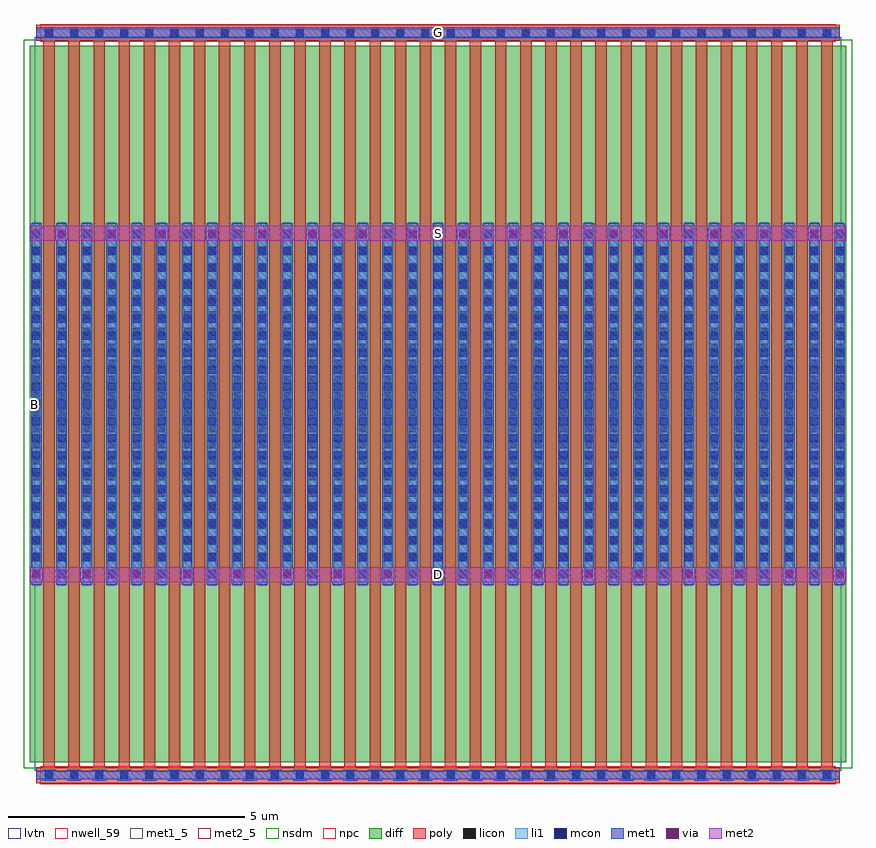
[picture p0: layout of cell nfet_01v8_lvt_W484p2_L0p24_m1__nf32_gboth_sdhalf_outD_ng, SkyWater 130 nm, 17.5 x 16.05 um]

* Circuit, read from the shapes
.subckt nfet_01v8_lvt_W484p2_L0p24_m1__nf32_gboth_sdhalf_outD_ng B D G S
XM1 S G D B sky130_fd_pr__nfet_01v8_lvt w=15.13 l=0.24 m=32
.ends

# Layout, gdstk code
import gdstk
lib = gdstk.Library(unit=1e-6, precision=1e-09)
def R(c, l, rs):  # rectangles x0, y0, x1, y1
    for r in rs: c.add(gdstk.rectangle(r[:2], r[2:], *l))
def A(c, l, x, y, w, h, nx, ny, dx, dy):  # array of equal rectangles
    R(c, l, [(x+i*dx, y+j*dy, x+i*dx+w, y+j*dy+h) for i in range(nx) for j in range(ny)])
nwell_59 = (64, 59)
diff = (65, 20)
poly = (66, 20)
licon = (66, 44)
li1 = (67, 20)
mcon = (67, 44)
met1_5 = (68, 5)
met1 = (68, 20)
via = (68, 44)
met2_5 = (69, 5)
met2 = (69, 20)
nsdm = (93, 44)
npc = (95, 20)
lvtn = (125, 44)

sky130_fd_pr__nfet_01v8_ = lib.new_cell('sky130_fd_pr__nfet_01v8_lvt_Z26UJJ')
R(sky130_fd_pr__nfet_01v8_, diff, [(-8.625,-7.565,8.625,7.565)])
A(sky130_fd_pr__nfet_01v8_, poly, -8.335, -7.675, 0.24, 15.35, 32, 1, 0.53, 0)
R(sky130_fd_pr__nfet_01v8_, poly, [(-8.48,-8.005,8.48,-7.675), (-8.48,7.675,8.48,8.005)])
A(sky130_fd_pr__nfet_01v8_, licon, -8.3, -7.925, 0.17, 0.17, 32, 2, 0.53, 15.68)
A(sky130_fd_pr__nfet_01v8_, licon, -8.565, -3.655, 0.17, 0.17, 33, 22, 0.53, 0.34)
A(sky130_fd_pr__nfet_01v8_, li1, -8.565, -3.835, 0.17, 7.67, 33, 1, 0.53, 0)
R(sky130_fd_pr__nfet_01v8_, li1, [(-8.48,-7.925,8.48,-7.755), (-8.48,7.755,8.48,7.925)])
A(sky130_fd_pr__nfet_01v8_, mcon, -8.3, -7.925, 0.17, 0.17, 32, 2, 0.53, 15.68)
A(sky130_fd_pr__nfet_01v8_, mcon, -8.565, -3.685, 0.17, 0.17, 33, 21, 0.53, 0.36)
A(sky130_fd_pr__nfet_01v8_, met1, -8.36, -7.955, 0.29, 0.03, 32, 2, 0.53, 0.2)
A(sky130_fd_pr__nfet_01v8_, met1, -8.595, -3.815, 0.23, 7.63, 33, 1, 0.53, 0)
A(sky130_fd_pr__nfet_01v8_, met1, -8.36, 7.725, 0.29, 0.03, 32, 2, 0.53, 0.2)
R(sky130_fd_pr__nfet_01v8_, met1, [(-8.48,-7.925,8.48,-7.755), (-8.48,7.755,8.48,7.925)])
R(sky130_fd_pr__nfet_01v8_, nsdm, [(-8.75,-7.69,8.75,7.69)])
R(sky130_fd_pr__nfet_01v8_, npc, [(-8.4,-8.025,8.4,-7.655), (-8.4,7.655,8.4,8.025)])
R(sky130_fd_pr__nfet_01v8_, lvtn, [(-8.515,-7.745,8.515,7.745)])
sky130_fd_pr__nfet_01v8_.add(gdstk.Label('D0', (-8.48,0), layer=67, texttype=5))
sky130_fd_pr__nfet_01v8_.add(gdstk.Label('G', (8.215,7.84), layer=67, texttype=5))
sky130_fd_pr__nfet_01v8_.add(gdstk.Label('G', (7.685,7.84), layer=67, texttype=5))
sky130_fd_pr__nfet_01v8_.add(gdstk.Label('G', (7.155,7.84), layer=67, texttype=5))
sky130_fd_pr__nfet_01v8_.add(gdstk.Label('G', (6.625,7.84), layer=67, texttype=5))
sky130_fd_pr__nfet_01v8_.add(gdstk.Label('G', (6.095,7.84), layer=67, texttype=5))
sky130_fd_pr__nfet_01v8_.add(gdstk.Label('G', (5.565,7.84), layer=67, texttype=5))
sky130_fd_pr__nfet_01v8_.add(gdstk.Label('G', (5.035,7.84), layer=67, texttype=5))
sky130_fd_pr__nfet_01v8_.add(gdstk.Label('G', (4.505,7.84), layer=67, texttype=5))
sky130_fd_pr__nfet_01v8_.add(gdstk.Label('G', (3.975,7.84), layer=67, texttype=5))
sky130_fd_pr__nfet_01v8_.add(gdstk.Label('G', (3.445,7.84), layer=67, texttype=5))
sky130_fd_pr__nfet_01v8_.add(gdstk.Label('G', (2.915,7.84), layer=67, texttype=5))
sky130_fd_pr__nfet_01v8_.add(gdstk.Label('G', (2.385,7.84), layer=67, texttype=5))
sky130_fd_pr__nfet_01v8_.add(gdstk.Label('G', (1.855,7.84), layer=67, texttype=5))
sky130_fd_pr__nfet_01v8_.add(gdstk.Label('G', (1.325,7.84), layer=67, texttype=5))
sky130_fd_pr__nfet_01v8_.add(gdstk.Label('G', (0.795,7.84), layer=67, texttype=5))
sky130_fd_pr__nfet_01v8_.add(gdstk.Label('G', (0.265,7.84), layer=67, texttype=5))
sky130_fd_pr__nfet_01v8_.add(gdstk.Label('G', (-0.265,7.84), layer=67, texttype=5))
sky130_fd_pr__nfet_01v8_.add(gdstk.Label('G', (-0.795,7.84), layer=67, texttype=5))
sky130_fd_pr__nfet_01v8_.add(gdstk.Label('G', (-1.325,7.84), layer=67, texttype=5))
sky130_fd_pr__nfet_01v8_.add(gdstk.Label('G', (-1.855,7.84), layer=67, texttype=5))
sky130_fd_pr__nfet_01v8_.add(gdstk.Label('G', (-2.385,7.84), layer=67, texttype=5))
sky130_fd_pr__nfet_01v8_.add(gdstk.Label('G', (-2.915,7.84), layer=67, texttype=5))
sky130_fd_pr__nfet_01v8_.add(gdstk.Label('G', (-3.445,7.84), layer=67, texttype=5))
sky130_fd_pr__nfet_01v8_.add(gdstk.Label('G', (-3.975,7.84), layer=67, texttype=5))
sky130_fd_pr__nfet_01v8_.add(gdstk.Label('G', (-4.505,7.84), layer=67, texttype=5))
sky130_fd_pr__nfet_01v8_.add(gdstk.Label('G', (-5.035,7.84), layer=67, texttype=5))
sky130_fd_pr__nfet_01v8_.add(gdstk.Label('G', (-5.565,7.84), layer=67, texttype=5))
sky130_fd_pr__nfet_01v8_.add(gdstk.Label('G', (-6.095,7.84), layer=67, texttype=5))
sky130_fd_pr__nfet_01v8_.add(gdstk.Label('G', (-6.625,7.84), layer=67, texttype=5))
sky130_fd_pr__nfet_01v8_.add(gdstk.Label('G', (-7.155,7.84), layer=67, texttype=5))
sky130_fd_pr__nfet_01v8_.add(gdstk.Label('G', (-7.685,7.84), layer=67, texttype=5))
sky130_fd_pr__nfet_01v8_.add(gdstk.Label('G', (-8.215,7.84), layer=67, texttype=5))
sky130_fd_pr__nfet_01v8_.add(gdstk.Label('S1', (-7.95,0), layer=67, texttype=5))
sky130_fd_pr__nfet_01v8_.add(gdstk.Label('D2', (-7.42,0), layer=67, texttype=5))
sky130_fd_pr__nfet_01v8_.add(gdstk.Label('S3', (-6.89,0), layer=67, texttype=5))
sky130_fd_pr__nfet_01v8_.add(gdstk.Label('D4', (-6.36,0), layer=67, texttype=5))
sky130_fd_pr__nfet_01v8_.add(gdstk.Label('S5', (-5.83,0), layer=67, texttype=5))
sky130_fd_pr__nfet_01v8_.add(gdstk.Label('D6', (-5.3,0), layer=67, texttype=5))
sky130_fd_pr__nfet_01v8_.add(gdstk.Label('S7', (-4.77,0), layer=67, texttype=5))
sky130_fd_pr__nfet_01v8_.add(gdstk.Label('D8', (-4.24,0), layer=67, texttype=5))
sky130_fd_pr__nfet_01v8_.add(gdstk.Label('S9', (-3.71,0), layer=67, texttype=5))
sky130_fd_pr__nfet_01v8_.add(gdstk.Label('D10', (-3.18,0), layer=67, texttype=5))
sky130_fd_pr__nfet_01v8_.add(gdstk.Label('S11', (-2.65,0), layer=67, texttype=5))
sky130_fd_pr__nfet_01v8_.add(gdstk.Label('D12', (-2.12,0), layer=67, texttype=5))
sky130_fd_pr__nfet_01v8_.add(gdstk.Label('S13', (-1.59,0), layer=67, texttype=5))
sky130_fd_pr__nfet_01v8_.add(gdstk.Label('D14', (-1.06,0), layer=67, texttype=5))
sky130_fd_pr__nfet_01v8_.add(gdstk.Label('S15', (-0.53,0), layer=67, texttype=5))
sky130_fd_pr__nfet_01v8_.add(gdstk.Label('D16', (0,0), layer=67, texttype=5))
sky130_fd_pr__nfet_01v8_.add(gdstk.Label('S17', (0.53,0), layer=67, texttype=5))
sky130_fd_pr__nfet_01v8_.add(gdstk.Label('D18', (1.06,0), layer=67, texttype=5))
sky130_fd_pr__nfet_01v8_.add(gdstk.Label('S19', (1.59,0), layer=67, texttype=5))
sky130_fd_pr__nfet_01v8_.add(gdstk.Label('D20', (2.12,0), layer=67, texttype=5))
sky130_fd_pr__nfet_01v8_.add(gdstk.Label('S21', (2.65,0), layer=67, texttype=5))
sky130_fd_pr__nfet_01v8_.add(gdstk.Label('D22', (3.18,0), layer=67, texttype=5))
sky130_fd_pr__nfet_01v8_.add(gdstk.Label('S23', (3.71,0), layer=67, texttype=5))
sky130_fd_pr__nfet_01v8_.add(gdstk.Label('D24', (4.24,0), layer=67, texttype=5))
sky130_fd_pr__nfet_01v8_.add(gdstk.Label('S25', (4.77,0), layer=67, texttype=5))
sky130_fd_pr__nfet_01v8_.add(gdstk.Label('D26', (5.3,0), layer=67, texttype=5))
sky130_fd_pr__nfet_01v8_.add(gdstk.Label('S27', (5.83,0), layer=67, texttype=5))
sky130_fd_pr__nfet_01v8_.add(gdstk.Label('D28', (6.36,0), layer=67, texttype=5))
sky130_fd_pr__nfet_01v8_.add(gdstk.Label('S29', (6.89,0), layer=67, texttype=5))
sky130_fd_pr__nfet_01v8_.add(gdstk.Label('D30', (7.42,0), layer=67, texttype=5))
sky130_fd_pr__nfet_01v8_.add(gdstk.Label('S31', (7.95,0), layer=67, texttype=5))

nfet_01v8_lvt_w484p2_l0p = lib.new_cell('nfet_01v8_lvt_W484p2_L0p24_m1__nf32_gboth_sdhalf_outD_ng')
R(nfet_01v8_lvt_w484p2_l0p, nwell_59, [(0.05,7.955,0.15,8.055)])
R(nfet_01v8_lvt_w484p2_l0p, met1_5, [(0.145,15.73,17.105,15.96)])
A(nfet_01v8_lvt_w484p2_l0p, met1, 0.015, 4.24, 0.26, 0.32, 17, 1, 1.06, 0)
A(nfet_01v8_lvt_w484p2_l0p, met1, 0.545, 11.45, 0.26, 0.32, 16, 1, 1.06, 0)
R(nfet_01v8_lvt_w484p2_l0p, met1, [(0.145,15.73,17.105,15.96)])
A(nfet_01v8_lvt_w484p2_l0p, via, 0.07, 4.325, 0.15, 0.15, 17, 1, 1.06, 0)
A(nfet_01v8_lvt_w484p2_l0p, via, 0.6, 11.535, 0.15, 0.15, 16, 1, 1.06, 0)
R(nfet_01v8_lvt_w484p2_l0p, met2_5, [(0.01,4.24,17.24,4.56), (0.01,11.45,17.24,11.77)])
R(nfet_01v8_lvt_w484p2_l0p, met2, [(0.01,4.24,17.24,4.56), (0.01,11.45,17.24,11.77)])
nfet_01v8_lvt_w484p2_l0p.add(gdstk.Reference(sky130_fd_pr__nfet_01v8_, (8.625,8.005)))
nfet_01v8_lvt_w484p2_l0p.add(gdstk.Label('S', (8.625,11.61), layer=69, texttype=5))
nfet_01v8_lvt_w484p2_l0p.add(gdstk.Label('D', (8.625,4.4), layer=69, texttype=5))
nfet_01v8_lvt_w484p2_l0p.add(gdstk.Label('G', (8.625,15.845), layer=68, texttype=5))
nfet_01v8_lvt_w484p2_l0p.add(gdstk.Label('B', (0.1,8.005), layer=64, texttype=59))

lib.write_gds('nfet_01v8_lvt_W484p2_L0p24_m1__nf32_gboth_sdhalf_outD_ng.gds')
